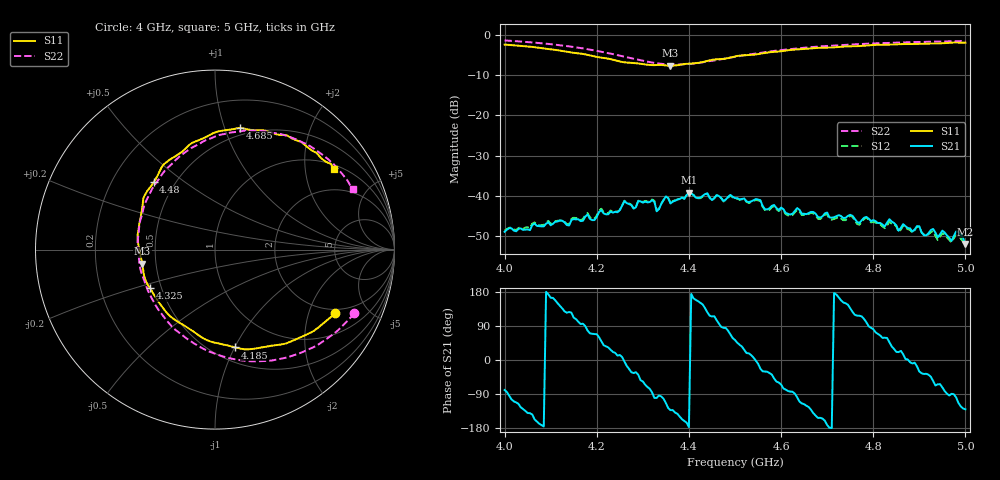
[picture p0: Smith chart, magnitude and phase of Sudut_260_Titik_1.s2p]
# Hz S RI R 50
! CMT, C1220, 16058040, 17.2.0/1
! Date: 15/08/2018 11:35:34
! Data: Format (Calibration Info)
! Freq  S11: Re/Im (F2)  S21: Re/Im (F2)  S12: Re/Im (F2)  S22: Re/Im (F2)
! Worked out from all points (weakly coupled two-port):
!   201 points, 4 GHz to 5 GHz, reference 50 ohm
!   highest |S21| = -39.21 dB at 4.4 GHz (marker M1); lowest = -51.9 dB at 5 GHz (marker M2)
!   lowest |S11| = -7.7 dB at 4.36 GHz (marker M3), VSWR 2.41, Z = 20.9 - j3.98 ohm
!   |S11| at or under -10 dB: nowhere
!   |S22| runs from -7.4 to -1.4 dB; largest |S21 - S12| = 0.00039
!   S11 on the Smith chart (normalised r, x): 4 GHz: 1.81, -3.01; 4.185 GHz: 0.64, -1.00; 4.325 GHz: 0.43, -0.23; 4.48 GHz: 0.38, +0.39; 4.685 GHz: 0.43, +1.13; 5 GHz: 1.15, +2.84
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4e9  0.6686 -0.3548  0.000672 -0.00351  0.000828 -0.00361  0.7749 -0.3535
4.17e9  0.1654 -0.5555  -0.000491 0.00488  -0.000617 0.00512  0.2745 -0.621
4.185e9  0.1121 -0.545  0.00174 0.00489  0.00173 0.00515  0.2098 -0.6225
4.245e9  -0.1149 -0.4601  0.00613 0.00127  0.00624 0.00123  -0.0562 -0.5569
4.26e9  -0.1747 -0.4207  0.00857 -0.000605  0.00869 -0.000689  -0.1179 -0.5221
4.28e9  -0.2493 -0.3718  0.00573 -0.00393  0.00577 -0.00395  -0.1979 -0.4639
4.325e9  -0.3614 -0.215  -0.00147 -0.00834  -0.00158 -0.00854  -0.3427 -0.2889
4.335e9  -0.383 -0.1811  -0.000406 -0.00685  -0.000517 -0.00687  -0.3658 -0.2453
4.35e9  -0.399 -0.1213  -0.00395 -0.00899  -0.00408 -0.00904  -0.3943 -0.1722
4.36e9  -0.4053 -0.0788  -0.00542 -0.00595  -0.00555 -0.00601  -0.4112 -0.1261
4.4e9  -0.4303 0.0875  -0.0109 -0.000542  -0.011 -0.000284  -0.4277 0.0744
4.48e9  -0.3419 0.3751  0.000864 0.00894  0.00108 0.00884  -0.3014 0.4108
4.5e9  -0.3045 0.4447  0.0057 0.00745  0.00562 0.00728  -0.2464 0.4721
4.67e9  0.1102 0.6728  -0.00486 -0.00403  -0.00472 -0.00379  0.2471 0.6629
4.685e9  0.1391 0.678  -0.00477 -0.00248  -0.0046 -0.00236  0.2839 0.659
4.825e9  0.4254 0.6213  0.00216 0.00358  0.00213 0.00336  0.5673 0.5512
4.835e9  0.4446 0.6121  0.00351 0.00374  0.00319 0.00355  0.582 0.5404
4.855e9  0.4769 0.601  0.00346 0.00131  0.00332 0.00125  0.6122 0.5182
4.9e9  0.5431 0.5504  0.00361 -0.00212  0.00365 -0.00194  0.6698 0.4652
4.97e9  0.6396 0.4811  4.2e-05 -0.00276  3.16e-05 -0.00264  0.7422 0.3783
4.985e9  0.6487 0.4714  -0.00144 -0.00328  -0.00124 -0.00295  0.7541 0.3571
5e9  0.6615 0.4482  -0.00163 -0.00193  -0.00139 -0.00192  0.7677 0.3375
